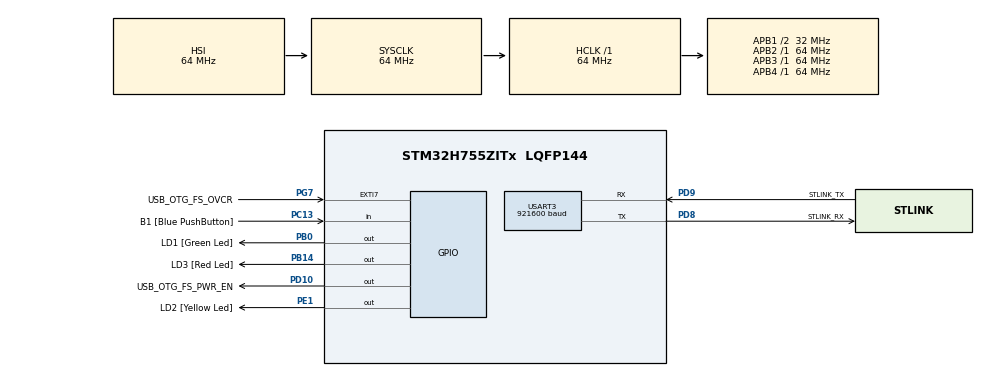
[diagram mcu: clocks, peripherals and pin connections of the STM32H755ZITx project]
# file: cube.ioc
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CortexM4.IPs=FATFS_M4\:I,FREERTOS_M4\:I,IWDG2\:I,RCC,WWDG2\:I,DMA,BDMA,MDMA,NVIC2\:I,ETH,USART3,DEBUG,PDM2PCM_M4\:I,PWR,RESMGR_UTILITY,SYS_M4\:I,USB_DEVICE_M4\:I,USB_HOST_M4\:I,CORTEX_M4\:I,GPIO,OPENAMP_M4\:I,VREFBUF
CortexM7.IPs=FATFS_M7\:I,FREERTOS_M7\:I,IWDG1\:I,RCC\:I,WWDG1\:I,DMA\:I,BDMA\:I,MDMA\:I,NVIC1\:I,ETH\:I,USART3\:I,USB_OTG_FS\:I,SYS\:I,CORTEX_M7\:I,DEBUG\:I,PDM2PCM_M7\:I,PWR\:I,RESMGR_UTILITY\:I,USB_DEVICE_M7\:I,USB_HOST_M7\:I,GPIO\:I,OPENAMP_M7\:I,VREFBUF\:I
CortexM7.Pins=PC13,PB0,PB14,PD10,PG7,PE1
Mcu.Family=STM32H7
Mcu.Name=STM32H755ZITx
Mcu.Package=LQFP144
NVIC1.PriorityGroup=NVIC_PRIORITYGROUP_4
NVIC2.PriorityGroup=NVIC_PRIORITYGROUP_4
PA1.PinAttribute=CortexM7
PA1.Signal=ETH_REF_CLK
PA11.PinAttribute=CortexM7
PA11.Signal=USB_OTG_FS_DM
PA12.PinAttribute=CortexM7
PA12.Signal=USB_OTG_FS_DP
PA2.PinAttribute=CortexM7
PA2.Signal=ETH_MDIO
PA7.PinAttribute=CortexM7
PA7.Signal=ETH_CRS_DV
PA8.PinAttribute=CortexM7
PA8.Signal=USB_OTG_FS_SOF
PA9.PinAttribute=CortexM7
PA9.Signal=USB_OTG_FS_VBUS
PB0.GPIO_Label=LD1 [Green Led]
PB0.PinAttribute=CortexM7
PB0.Signal=GPIO_Output
PB13.PinAttribute=CortexM7
PB13.Signal=ETH_TXD1
PB14.GPIO_Label=LD3 [Red Led]
PB14.PinAttribute=CortexM7
PB14.Signal=GPIO_Output
PC1.PinAttribute=CortexM7
PC1.Signal=ETH_MDC
PC13.GPIO_Label=B1 [Blue PushButton]
PC13.PinAttribute=CortexM7
PC13.Signal=GPIO_Input
PC14-OSC32_IN\ (OSC32_IN).PinAttribute=Free
PC14-OSC32_IN\ (OSC32_IN).Signal=RCC_OSC32_IN
PC15-OSC32_OUT\ (OSC32_OUT).PinAttribute=Free
PC15-OSC32_OUT\ (OSC32_OUT).Signal=RCC_OSC32_OUT
PC4.PinAttribute=CortexM7
PC4.Signal=ETH_RXD0
PC5.PinAttribute=CortexM7
PC5.Signal=ETH_RXD1
PD10.GPIO_Label=USB_OTG_FS_PWR_EN
PD10.PinAttribute=CortexM7
PD10.Signal=GPIO_Output
PD8.GPIO_Label=STLINK_RX
PD8.Mode=Asynchronous
PD8.PinAttribute=CortexM7
PD8.Signal=USART3_TX
PD9.GPIO_Label=STLINK_TX
PD9.Mode=Asynchronous
PD9.PinAttribute=CortexM7
PD9.Signal=USART3_RX
PE1.GPIO_Label=LD2 [Yellow Led]
PE1.PinAttribute=CortexM7
PE1.Signal=GPIO_Output
PG11.PinAttribute=CortexM7
PG11.Signal=ETH_TX_EN
PG13.PinAttribute=CortexM7
PG13.Signal=ETH_TXD0
PG7.GPIO_Label=USB_OTG_FS_OVCR
PG7.PinAttribute=CortexM7
PG7.Signal=GPXTI7
PH0-OSC_IN\ (PH0).PinAttribute=Free
PH0-OSC_IN\ (PH0).Signal=RCC_OSC_IN
PH1-OSC_OUT\ (PH1).PinAttribute=Free
PH1-OSC_OUT\ (PH1).Signal=RCC_OSC_OUT
ProjectManager.HeapSize=M4-0x200,M7-0x200
ProjectManager.StackSize=M4-0x400,M7-0x400
ProjectManager.TargetToolchain=Makefile
RCC.ADCFreq_Value=129000000
RCC.APB1Freq_Value=32000000
RCC.APB2Freq_Value=64000000
RCC.APB3Freq_Value=64000000
RCC.APB4Freq_Value=64000000
RCC.CortexFreq_Value=64000000
RCC.D2PPRE1=RCC_APB1_DIV2
RCC.DIVM1=5
RCC.DIVN1=48
RCC.DIVQ1=5
RCC.HCLKFreq_Value=64000000
RCC.PLL2FRACN=0
RCC.PLL3FRACN=0
RCC.PLLFRACN=0
RCC.SYSCLKFreq_VALUE=64000000
RCC.SupplySource=PWR_DIRECT_SMPS_SUPPLY
RCC.USBFreq_Value=122880000
USART3.BaudRate=921600
USART3.VirtualMode-Asynchronous=VM_ASYNC
VP_SYS_M4_VS_Systick.Mode=SysTick
board=NUCLEO-H755ZI-Q

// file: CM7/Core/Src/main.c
/* USER CODE BEGIN Header */
/**
	******************************************************************************
	* @file           : main.c
	* @brief          : Main program body
	******************************************************************************
	* @attention
	*
	* Copyright (c) 2023 STMicroelectronics.
	* All rights reserved.
	*
	* This software is licensed under terms that can be found in the LICENSE file
	* in the root directory of this software component.
	* If no LICENSE file comes with this software, it is provided AS-IS.
	*
	******************************************************************************
	*/
/* USER CODE END Header */
#include "main.h"

/* USER CODE BEGIN PD */

#ifndef HSEM_ID_0
#define HSEM_ID_0 (0U) /* HW semaphore 0*/
#endif

/* USER CODE END PD */

UART_HandleTypeDef huart3;

void SystemClock_Config(void);
static void MX_GPIO_Init(void);
static void MX_USART3_UART_Init(void);

/* USER CODE BEGIN 0 */

//================================================
// rust wrapper
//==============

typedef struct CArray {
	size_t size;
	void* array;
} CArray;

typedef struct Vector2 {
	float x;
	float y;
} Vector2;

void threshold     ( size_t imageAddress, uint32_t size_x, uint32_t size_y);
size_t blob        ( size_t imageAddress, size_t size_x, size_t size_y );
void project       ( size_t size_x, size_t size_y);
size_t track       ( size_t allowed_failures );
size_t track_chunk ( size_t allowed_failures, float ra, float dec );
void vote          ( );
void get_vote      ( uint8_t* vote );

void set_pixel ( size_t address, size_t size_x, size_t size_y, size_t pos_x, size_t pos_y, uint8_t value );

Vector2 get_blob( size_t index );

void print_string( uint8_t* text, uint32_t size )
{
		HAL_UART_Transmit(&huart3, text, size, 100);
}

//=================================================

const uint8_t SEND_SET = 'S';
const uint8_t SEND_GET = 'G';
const uint8_t SEND_ACK = 'A';
const uint8_t SEND_ERR = 'E';
const uint8_t SEND_HANDSHAKE = 'H';
const uint8_t SEND_RUN = 'R';
const uint8_t SEND_RUN_CHUNK = 'C';

const uint8_t SEND_THRESH          = 'a';

const uint8_t SEND_BLOB     = 'e';
const uint8_t SEND_GET_STAR = 'f';
const uint8_t SEND_GET_VOTE = 'g';

// RAM    : ORIGIN = 0x20000000, LENGTH = 128K

// /* AXISRAM */
// AXISRAM : ORIGIN = 0x24000000, LENGTH = 512KBytes

// /* SRAM */
// SRAM1 : ORIGIN = 0x30000000, LENGTH = 128K
// SRAM2 : ORIGIN = 0x30020000, LENGTH = 128K
// SRAM3 : ORIGIN = 0x30040000, LENGTH = 32K
// SRAM4 : ORIGIN = 0x38000000, LENGTH = 64K
const uintptr_t AXIS_RAM_START  = 0x24000000;
const size_t    AXIS_IMAGE_SIZE = 808 * 608 / 4;
volatile uint32_t* image = (uint32_t*)AXIS_RAM_START; // The 8 bit image stored as a continuous set of 32 bits.

void reset_leds ( )
{
	HAL_GPIO_WritePin(GPIOB, GPIO_PIN_0,  GPIO_PIN_RESET);
	HAL_GPIO_WritePin(GPIOB, GPIO_PIN_14, GPIO_PIN_RESET);
	HAL_GPIO_WritePin(GPIOE, GPIO_PIN_1,  GPIO_PIN_RESET);
}

void handshake ( )
{
	reset_leds();
	uint8_t buffer[1];
	HAL_StatusTypeDef status;
	do
	{
		status = HAL_UART_Receive (&huart3, buffer, 1, 100);
		HAL_GPIO_WritePin(GPIOB, GPIO_PIN_14, GPIO_PIN_SET);
		HAL_GPIO_WritePin(GPIOB, GPIO_PIN_14, GPIO_PIN_RESET);
		HAL_Delay(100); // blinky light.
	} while ( buffer[0] != SEND_HANDSHAKE || status != HAL_OK );

	HAL_UART_Transmit(&huart3, buffer, sizeof(buffer), 100);
}

void set_address ( )
{
	reset_leds();
	uint8_t send_buffer[1];      // Status Code.
	uint8_t set_buffer[4+4];   // 32bit address 32bit size.
	HAL_StatusTypeDef status;

	HAL_GPIO_WritePin(GPIOE, GPIO_PIN_1, GPIO_PIN_SET);
	status = HAL_UART_Receive (&huart3, set_buffer, sizeof(set_buffer), 500);

	if ( status == HAL_OK )
	{
		uint32_t location =
			set_buffer[3] << (3*8) |
			set_buffer[2] << (2*8) |
			set_buffer[1] << (1*8) |
			set_buffer[0] << (0*8);

		image[location] =
			set_buffer[7] << (3*8) |
			set_buffer[6] << (2*8) |
			set_buffer[5] << (1*8) |
			set_buffer[4] << (0*8);

		send_buffer[0] = SEND_ACK; // acknowledge
		HAL_UART_Transmit(&huart3, send_buffer, sizeof(send_buffer), 100);
	}
	else
	{
		send_buffer[0] = (uint8_t)SEND_ERR; // negative acknowledge
		HAL_UART_Transmit(&huart3, send_buffer, sizeof(send_buffer), 100);
	}
}

int firstAddress = 1;
void get_address ( )
{
	reset_leds();
	uint8_t receive_buffer[4];   // memory location
	uint8_t send_buffer[4];      // value
	HAL_StatusTypeDef status;

	// if ( firstAddress )
	// {
		// set_pixel(AXIS_RAM_START, )
		// firstAddress = 0;
	// }

	HAL_GPIO_WritePin(GPIOB, GPIO_PIN_0, GPIO_PIN_SET);
	status = HAL_UART_Receive (&huart3, receive_buffer, sizeof(receive_buffer), 500);

	if ( status == HAL_OK )
	{
		uint32_t location =
				receive_buffer[3] << (3*8) |
				receive_buffer[2] << (2*8) |
				receive_buffer[1] << (1*8) |
				receive_buffer[0] << (0*8);

		send_buffer[0] =  image[location]           & (255);
		send_buffer[1] = (image[location] >> (8*1)) & (255);
		send_buffer[2] = (image[location] >> (8*2)) & (255);
		send_buffer[3] = (image[location] >> (8*3)) & (255);
		HAL_UART_Transmit(&huart3, send_buffer, sizeof(send_buffer), 100);
	}
}

void perform_threshold ( )
{
	HAL_GPIO_WritePin(GPIOB, GPIO_PIN_0, GPIO_PIN_SET);    // Green
	HAL_GPIO_WritePin(GPIOE, GPIO_PIN_1, GPIO_PIN_RESET);  // Yellow
	HAL_GPIO_WritePin(GPIOB, GPIO_PIN_14, GPIO_PIN_RESET); // Red
	threshold(AXIS_RAM_START, 808, 608);
}

void perform_blob ( )
{
	HAL_GPIO_WritePin(GPIOB, GPIO_PIN_0, GPIO_PIN_RESET);   // Green
	HAL_GPIO_WritePin(GPIOE, GPIO_PIN_1, GPIO_PIN_SET);     // Yellow
	HAL_GPIO_WritePin(GPIOB, GPIO_PIN_14, GPIO_PIN_RESET);  // Red
	size_t found = blob(AXIS_RAM_START, 808, 608);
}

void perform_project ( )
{
	HAL_GPIO_WritePin(GPIOB, GPIO_PIN_0, GPIO_PIN_RESET); // Green
	HAL_GPIO_WritePin(GPIOE, GPIO_PIN_1, GPIO_PIN_RESET); // Yellow
	HAL_GPIO_WritePin(GPIOB, GPIO_PIN_14, GPIO_PIN_SET);  // Red
	project(808, 608);
}

void perform_track ( )
{
	HAL_GPIO_WritePin(GPIOB, GPIO_PIN_0, GPIO_PIN_SET);   // Green
	HAL_GPIO_WritePin(GPIOE, GPIO_PIN_1, GPIO_PIN_RESET); // Yellow
	HAL_GPIO_WritePin(GPIOB, GPIO_PIN_14, GPIO_PIN_SET);  // Red
	size_t found = track(10);
}

void perform_track_chunk ( float ra, float dec )
{
	HAL_GPIO_WritePin(GPIOB, GPIO_PIN_0, GPIO_PIN_SET);   // Green
	HAL_GPIO_WritePin(GPIOE, GPIO_PIN_1, GPIO_PIN_RESET); // Yellow
	HAL_GPIO_WritePin(GPIOB, GPIO_PIN_14, GPIO_PIN_SET);  // Red
	size_t found = track_chunk(10, ra, dec);
}

void perform_vote ( )
{
	HAL_GPIO_WritePin(GPIOB, GPIO_PIN_0, GPIO_PIN_SET);   // Green
	HAL_GPIO_WritePin(GPIOE, GPIO_PIN_1, GPIO_PIN_SET);   // Yellow
	HAL_GPIO_WritePin(GPIOB, GPIO_PIN_14, GPIO_PIN_SET);  // Red
	vote();
}

void perform_get_vote ( )
{
	uint8_t vote[4]; // ra: __.__, dec __.__
	get_vote(&vote);
	HAL_UART_Transmit(&huart3, vote, sizeof(vote), 100);
}

/* USER CODE END 0 */

int main(void)
{
/* USER CODE BEGIN Boot_Mode_Sequence_0 */
	int32_t timeout;
/* USER CODE END Boot_Mode_Sequence_0 */

/* USER CODE BEGIN Boot_Mode_Sequence_1 */
	/* Wait until CPU2 boots and enters in stop mode or timeout*/
	timeout = 0xFFFF;
	while((__HAL_RCC_GET_FLAG(RCC_FLAG_D2CKRDY) != RESET) && (timeout-- > 0));
	if ( timeout < 0 )
	{
	Error_Handler();
	}
/* USER CODE END Boot_Mode_Sequence_1 */
	/* MCU Configuration--------------------------------------------------------*/

	/* Reset of all peripherals, Initializes the Flash interface and the Systick. */
	HAL_Init();

	/* Configure the system clock */
	SystemClock_Config();
/* USER CODE BEGIN Boot_Mode_Sequence_2 */
/* When system initialization is finished, Cortex-M7 will release Cortex-M4 by means of
HSEM notification */
/*HW semaphore Clock enable*/
__HAL_RCC_HSEM_CLK_ENABLE();
/*Take HSEM */
HAL_HSEM_FastTake(HSEM_ID_0);
/*Release HSEM in order to notify the CPU2(CM4)*/
HAL_HSEM_Release(HSEM_ID_0,0);
/* wait until CPU2 wakes up from stop mode */
timeout = 0xFFFF;
while((__HAL_RCC_GET_FLAG(RCC_FLAG_D2CKRDY) == RESET) && (timeout-- > 0));
if ( timeout < 0 )
{
Error_Handler();
}
/* USER CODE END Boot_Mode_Sequence_2 */

	/* Initialize all configured peripherals */
	MX_GPIO_Init();
	MX_USART3_UART_Init();

	/* Infinite loop */
	/* USER CODE BEGIN WHILE */
	HAL_GPIO_WritePin(GPIOB, GPIO_PIN_0,  GPIO_PIN_RESET);
	HAL_GPIO_WritePin(GPIOB, GPIO_PIN_14, GPIO_PIN_RESET);
	HAL_GPIO_WritePin(GPIOE, GPIO_PIN_1,  GPIO_PIN_RESET);

	handshake();
	while (1)
	{
		uint8_t command_buffer[1];
		HAL_StatusTypeDef status;
		status = HAL_UART_Receive (&huart3, command_buffer, sizeof(command_buffer), 500);

		if ( status == HAL_OK )
		{
			switch ( command_buffer[0] )
			{
				case SEND_SET:
					set_address();
					break;

				case SEND_GET:
					get_address();
					break;

				// case SEND_THRESH:
				// 	perform_threshold();
				// 	break;

				// case SEND_BLOB:
				// 	perform_blob();
				// 	break;

				// case SEND_GET_STAR:
				// 	perform_get_blob();
				// 	break;

				case SEND_RUN_CHUNK:
				{
					uint8_t position[8];
					status = HAL_UART_Receive (&huart3, position, sizeof(position), 500);

					int32_t ra =
							position[3] << (3*8) |
							position[2] << (2*8) |
							position[1] << (1*8) |
							position[0] << (0*8);

					int32_t dec =
							position[7] << (3*8) |
							position[6] << (2*8) |
							position[5] << (1*8) |
							position[4] << (0*8);

					perform_threshold();
					perform_blob();
					perform_project();
					perform_track_chunk((float)ra, (float)dec);
					perform_vote();
					break;
				}

				case SEND_RUN:
					perform_threshold();
					perform_blob();
					perform_project();
					perform_track();
					perform_vote();
					break;

				case SEND_GET_VOTE:
					perform_get_vote();
					break;
				default:
					break;
			}

			reset_leds();
		}

		// Send Image

		// HAL_GPIO_WritePin(GPIOB, GPIO_PIN_0, GPIO_PIN_SET);
		// return 0;

		// sprintf(&tx_msg, "THIS IS A MESSAGE\r\n");
		// HAL_UART_Transmit(&huart3, rx_msg, sizeof(rx_msg), 100);
		// run();
		// HAL_GPIO_WritePin(GPIOE, GPIO_PIN_1, GPIO_PIN_RESET);
		// HAL_GPIO_WritePin(GPIOB, GPIO_PIN_0, GPIO_PIN_SET);
		// HAL_Delay(200);
		// HAL_GPIO_WritePin(GPIOB, GPIO_PIN_0, GPIO_PIN_RESET);
		// HAL_GPIO_WritePin(GPIOB, GPIO_PIN_14, GPIO_PIN_SET);
		// HAL_Delay(200);
		// HAL_GPIO_WritePin(GPIOB, GPIO_PIN_14, GPIO_PIN_RESET);
		// HAL_GPIO_WritePin(GPIOE, GPIO_PIN_1, GPIO_PIN_SET);
		// HAL_Delay(200);
		/* USER CODE END WHILE */

	}
}

void SystemClock_Config(void)
{
	RCC_OscInitTypeDef RCC_OscInitStruct = {0};
	RCC_ClkInitTypeDef RCC_ClkInitStruct = {0};

	/** Supply configuration update enable
	*/
	HAL_PWREx_ConfigSupply(PWR_DIRECT_SMPS_SUPPLY);

	/** Configure the main internal regulator output voltage
	*/
	__HAL_PWR_VOLTAGESCALING_CONFIG(PWR_REGULATOR_VOLTAGE_SCALE3);

	while(!__HAL_PWR_GET_FLAG(PWR_FLAG_VOSRDY)) {}

	/** Initializes the RCC Oscillators according to the specified parameters
	* in the RCC_OscInitTypeDef structure.
	*/
	RCC_OscInitStruct.OscillatorType = RCC_OSCILLATORTYPE_HSI;
	RCC_OscInitStruct.HSIState = RCC_HSI_DIV1;
	RCC_OscInitStruct.HSICalibrationValue = RCC_HSICALIBRATION_DEFAULT;
	RCC_OscInitStruct.PLL.PLLState = RCC_PLL_NONE;
	if (HAL_RCC_OscConfig(&RCC_OscInitStruct) != HAL_OK)
	{
		Error_Handler();
	}

	/** Initializes the CPU, AHB and APB buses clocks
	*/
	RCC_ClkInitStruct.ClockType = RCC_CLOCKTYPE_HCLK|RCC_CLOCKTYPE_SYSCLK
															|RCC_CLOCKTYPE_PCLK1|RCC_CLOCKTYPE_PCLK2
															|RCC_CLOCKTYPE_D3PCLK1|RCC_CLOCKTYPE_D1PCLK1;
	RCC_ClkInitStruct.SYSCLKSource = RCC_SYSCLKSOURCE_HSI;
	RCC_ClkInitStruct.SYSCLKDivider = RCC_SYSCLK_DIV1;
	RCC_ClkInitStruct.AHBCLKDivider = RCC_HCLK_DIV1;
	RCC_ClkInitStruct.APB3CLKDivider = RCC_APB3_DIV1;
	RCC_ClkInitStruct.APB1CLKDivider = RCC_APB1_DIV2;
	RCC_ClkInitStruct.APB2CLKDivider = RCC_APB2_DIV1;
	RCC_ClkInitStruct.APB4CLKDivider = RCC_APB4_DIV1;

	if (HAL_RCC_ClockConfig(&RCC_ClkInitStruct, FLASH_LATENCY_1) != HAL_OK)
	{
		Error_Handler();
	}
}

static void MX_USART3_UART_Init(void)
{

	huart3.Instance = USART3;
	huart3.Init.BaudRate = 921600;
	huart3.Init.WordLength = UART_WORDLENGTH_8B;
	huart3.Init.StopBits = UART_STOPBITS_1;
	huart3.Init.Parity = UART_PARITY_NONE;
	huart3.Init.Mode = UART_MODE_TX_RX;
	huart3.Init.HwFlowCtl = UART_HWCONTROL_NONE;
	huart3.Init.OverSampling = UART_OVERSAMPLING_16;
	huart3.Init.OneBitSampling = UART_ONE_BIT_SAMPLE_DISABLE;
	huart3.Init.ClockPrescaler = UART_PRESCALER_DIV1;
	huart3.AdvancedInit.AdvFeatureInit = UART_ADVFEATURE_NO_INIT;
	if (HAL_UART_Init(&huart3) != HAL_OK)
	{
		Error_Handler();
	}
	if (HAL_UARTEx_SetTxFifoThreshold(&huart3, UART_TXFIFO_THRESHOLD_1_8) != HAL_OK)
	{
		Error_Handler();
	}
	if (HAL_UARTEx_SetRxFifoThreshold(&huart3, UART_RXFIFO_THRESHOLD_1_8) != HAL_OK)
	{
		Error_Handler();
	}
	if (HAL_UARTEx_DisableFifoMode(&huart3) != HAL_OK)
	{
		Error_Handler();
	}

}

static void MX_GPIO_Init(void)
{
	GPIO_InitTypeDef GPIO_InitStruct = {0};

	/* GPIO Ports Clock Enable */
	__HAL_RCC_GPIOC_CLK_ENABLE();
	__HAL_RCC_GPIOA_CLK_ENABLE();
	__HAL_RCC_GPIOB_CLK_ENABLE();
	__HAL_RCC_GPIOD_CLK_ENABLE();
	__HAL_RCC_GPIOG_CLK_ENABLE();
	__HAL_RCC_GPIOE_CLK_ENABLE();

	/*Configure GPIO pin Output Level */
	HAL_GPIO_WritePin(GPIOB, LD1_Pin|LD3_Pin, GPIO_PIN_RESET);

	/*Configure GPIO pin Output Level */
	HAL_GPIO_WritePin(USB_OTG_FS_PWR_EN_GPIO_Port, USB_OTG_FS_PWR_EN_Pin, GPIO_PIN_RESET);

	/*Configure GPIO pin Output Level */
	HAL_GPIO_WritePin(LD2_GPIO_Port, LD2_Pin, GPIO_PIN_RESET);

	/*Configure GPIO pin : B1_Pin */
	GPIO_InitStruct.Pin = B1_Pin;
	GPIO_InitStruct.Mode = GPIO_MODE_INPUT;
	GPIO_InitStruct.Pull = GPIO_NOPULL;
	HAL_GPIO_Init(B1_GPIO_Port, &GPIO_InitStruct);

	/*Configure GPIO pins : PC1 PC4 PC5 */
	GPIO_InitStruct.Pin = GPIO_PIN_1|GPIO_PIN_4|GPIO_PIN_5;
	GPIO_InitStruct.Mode = GPIO_MODE_AF_PP;
	GPIO_InitStruct.Pull = GPIO_NOPULL;
	GPIO_InitStruct.Speed = GPIO_SPEED_FREQ_LOW;
	GPIO_InitStruct.Alternate = GPIO_AF11_ETH;
	HAL_GPIO_Init(GPIOC, &GPIO_InitStruct);

	/*Configure GPIO pins : PA1 PA2 PA7 */
	GPIO_InitStruct.Pin = GPIO_PIN_1|GPIO_PIN_2|GPIO_PIN_7;
	GPIO_InitStruct.Mode = GPIO_MODE_AF_PP;
	GPIO_InitStruct.Pull = GPIO_NOPULL;
	GPIO_InitStruct.Speed = GPIO_SPEED_FREQ_LOW;
	GPIO_InitStruct.Alternate = GPIO_AF11_ETH;
	HAL_GPIO_Init(GPIOA, &GPIO_InitStruct);

	/*Configure GPIO pins : LD1_Pin LD3_Pin */
	GPIO_InitStruct.Pin = LD1_Pin|LD3_Pin;
	GPIO_InitStruct.Mode = GPIO_MODE_OUTPUT_PP;
	GPIO_InitStruct.Pull = GPIO_NOPULL;
	GPIO_InitStruct.Speed = GPIO_SPEED_FREQ_LOW;
	HAL_GPIO_Init(GPIOB, &GPIO_InitStruct);

	/*Configure GPIO pin : PB13 */
	GPIO_InitStruct.Pin = GPIO_PIN_13;
	GPIO_InitStruct.Mode = GPIO_MODE_AF_PP;
	GPIO_InitStruct.Pull = GPIO_NOPULL;
	GPIO_InitStruct.Speed = GPIO_SPEED_FREQ_LOW;
	GPIO_InitStruct.Alternate = GPIO_AF11_ETH;
	HAL_GPIO_Init(GPIOB, &GPIO_InitStruct);

	/*Configure GPIO pin : USB_OTG_FS_PWR_EN_Pin */
	GPIO_InitStruct.Pin = USB_OTG_FS_PWR_EN_Pin;
	GPIO_InitStruct.Mode = GPIO_MODE_OUTPUT_PP;
	GPIO_InitStruct.Pull = GPIO_NOPULL;
	GPIO_InitStruct.Speed = GPIO_SPEED_FREQ_LOW;
	HAL_GPIO_Init(USB_OTG_FS_PWR_EN_GPIO_Port, &GPIO_InitStruct);

	/*Configure GPIO pin : USB_OTG_FS_OVCR_Pin */
	GPIO_InitStruct.Pin = USB_OTG_FS_OVCR_Pin;
	GPIO_InitStruct.Mode = GPIO_MODE_IT_RISING;
	GPIO_InitStruct.Pull = GPIO_NOPULL;
	HAL_GPIO_Init(USB_OTG_FS_OVCR_GPIO_Port, &GPIO_InitStruct);

	/*Configure GPIO pins : PA8 PA11 PA12 */
	GPIO_InitStruct.Pin = GPIO_PIN_8|GPIO_PIN_11|GPIO_PIN_12;
	GPIO_InitStruct.Mode = GPIO_MODE_AF_PP;
	GPIO_InitStruct.Pull = GPIO_NOPULL;
	GPIO_InitStruct.Speed = GPIO_SPEED_FREQ_LOW;
	GPIO_InitStruct.Alternate = GPIO_AF10_OTG1_FS;
	HAL_GPIO_Init(GPIOA, &GPIO_InitStruct);

	/*Configure GPIO pins : PG11 PG13 */
	GPIO_InitStruct.Pin = GPIO_PIN_11|GPIO_PIN_13;
	GPIO_InitStruct.Mode = GPIO_MODE_AF_PP;
	GPIO_InitStruct.Pull = GPIO_NOPULL;
	GPIO_InitStruct.Speed = GPIO_SPEED_FREQ_LOW;
	GPIO_InitStruct.Alternate = GPIO_AF11_ETH;
	HAL_GPIO_Init(GPIOG, &GPIO_InitStruct);

	/*Configure GPIO pin : LD2_Pin */
	GPIO_InitStruct.Pin = LD2_Pin;
	GPIO_InitStruct.Mode = GPIO_MODE_OUTPUT_PP;
	GPIO_InitStruct.Pull = GPIO_NOPULL;
	GPIO_InitStruct.Speed = GPIO_SPEED_FREQ_LOW;
	HAL_GPIO_Init(LD2_GPIO_Port, &GPIO_InitStruct);

}

void Error_Handler(void)
{
	__disable_irq();
	while (1)
	{
	}
}
